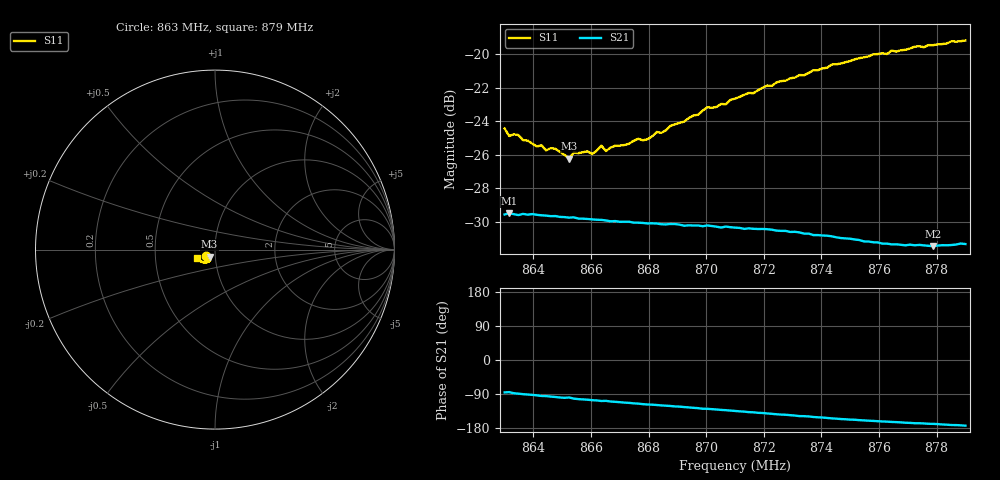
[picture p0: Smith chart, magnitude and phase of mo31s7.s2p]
# HZ S RI R 50
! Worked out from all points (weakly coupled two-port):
!   101 points, 863 MHz to 879 MHz, reference 50 ohm
!   highest |S21| = -29.48 dB at 863.16 MHz (marker M1); lowest = -31.4 dB at 877.88 MHz (marker M2)
!   lowest |S11| = -26.2 dB at 865.24 MHz (marker M3), VSWR 1.10, Z = 47 - j3.64 ohm
!   |S11| at or under -10 dB: start of sweep to end of sweep
!   S12 and S22 are empty: the file has one direction only
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8.63e8  -0.0474 -0.037  0.00263 -0.0332  0 0  0 0
8.6316e8  -0.0431 -0.0375  0.00306 -0.0334  0 0  0 0
8.6348e8  -0.044 -0.0369  0.000727 -0.0332  0 0  0 0
8.6412e8  -0.0386 -0.0364  -0.00193 -0.0332  0 0  0 0
8.6428e8  -0.0374 -0.0383  -0.00281 -0.033  0 0  0 0
8.6444e8  -0.0373 -0.0359  -0.00305 -0.0329  0 0  0 0
8.6476e8  -0.0363 -0.0377  -0.00434 -0.0327  0 0  0 0
8.6524e8  -0.0299 -0.0386  -0.00504 -0.0322  0 0  0 0
8.654e8  -0.0323 -0.0395  -0.00671 -0.032  0 0  0 0
8.6572e8  -0.0304 -0.041  -0.00783 -0.0314  0 0  0 0
8.6604e8  -0.0294 -0.041  -0.00888 -0.0309  0 0  0 0
8.6636e8  -0.0308 -0.0437  -0.01 -0.0305  0 0  0 0
8.6652e8  -0.0288 -0.0427  -0.00976 -0.0304  0 0  0 0
8.6828e8  -0.0256 -0.0528  -0.015 -0.0274  0 0  0 0
8.6844e8  -0.0259 -0.0522  -0.0155 -0.027  0 0  0 0
8.7004e8  -0.0305 -0.0625  -0.0193 -0.0241  0 0  0 0
8.7068e8  -0.0315 -0.0636  -0.0207 -0.0226  0 0  0 0
8.71e8  -0.034 -0.0655  -0.0213 -0.0217  0 0  0 0
8.7372e8  -0.0529 -0.0724  -0.0251 -0.0143  0 0  0 0
8.7644e8  -0.0792 -0.0654  -0.026 -0.00772  0 0  0 0
8.7788e8  -0.0909 -0.0557  -0.0262 -0.00532  0 0  0 0
8.79e8  -0.1 -0.046  -0.027 -0.00317  0 0  0 0
